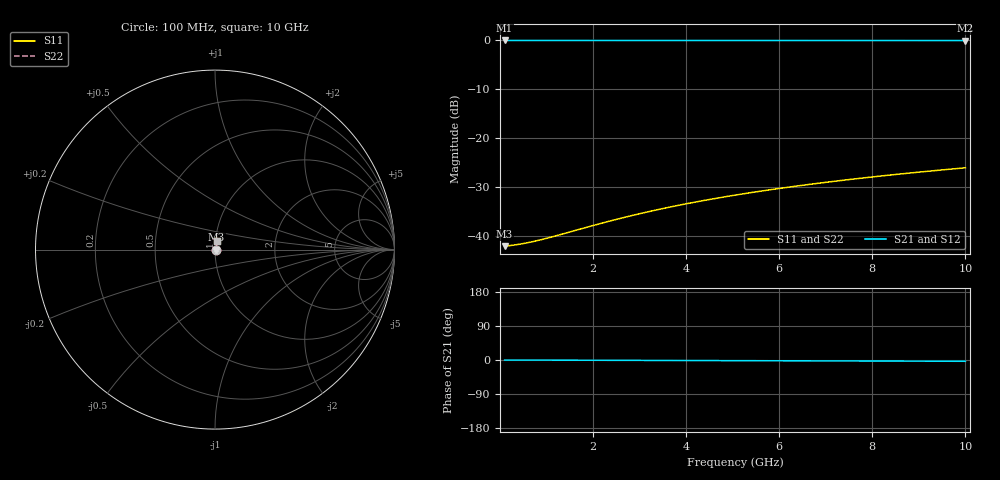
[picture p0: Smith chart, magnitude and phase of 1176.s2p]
# Hz S RI R 50.00
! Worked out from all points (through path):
!   100 points, 100 MHz to 10 GHz, reference 50 ohm
!   highest |S21| = -0.07 dB at 100 MHz (marker M1); lowest = -0.1 dB at 10 GHz (marker M2)
!   lowest |S11| = -42.2 dB at 100 MHz (marker M3), VSWR 1.02, Z = 50.8 + j0.0489 ohm
!   |S11| at or under -10 dB: start of sweep to end of sweep
!   |S22| runs from -42.2 to -26.1 dB; largest |S21 - S12| = 0
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1e8  0.00778 0.000482  0.9922 -0.000589  0.9922 -0.000589  0.00778 0.000482
3e8  0.00787 0.00145  0.9921 -0.00177  0.9921 -0.00177  0.00787 0.00145
4e8  0.0079 0.00193  0.9921 -0.00235  0.9921 -0.00235  0.0079 0.00193
6e8  0.00795 0.00289  0.992 -0.00353  0.992 -0.00353  0.00795 0.00289
8e8  0.008 0.00385  0.992 -0.00471  0.992 -0.00471  0.008 0.00385
1e9  0.00804 0.00482  0.992 -0.00589  0.992 -0.00589  0.00804 0.00482
1.2e9  0.00808 0.00578  0.9919 -0.00706  0.9919 -0.00706  0.00808 0.00578
1.8e9  0.0082 0.00867  0.9918 -0.0106  0.9918 -0.0106  0.0082 0.00867
2.2e9  0.00828 0.0106  0.9917 -0.0129  0.9917 -0.0129  0.00828 0.0106
2.6e9  0.00836 0.0125  0.9916 -0.0153  0.9916 -0.0153  0.00836 0.0125
3e9  0.00845 0.0144  0.9915 -0.0176  0.9915 -0.0176  0.00845 0.0144
3.4e9  0.00855 0.0164  0.9914 -0.02  0.9914 -0.02  0.00855 0.0164
3.8e9  0.00866 0.0183  0.9913 -0.0224  0.9913 -0.0224  0.00866 0.0183
4.2e9  0.00877 0.0202  0.9912 -0.0247  0.9912 -0.0247  0.00877 0.0202
4.6e9  0.00889 0.0221  0.9911 -0.0271  0.9911 -0.0271  0.00889 0.0221
5.1e9  0.00905 0.0245  0.9909 -0.03  0.9909 -0.03  0.00905 0.0245
5.9e9  0.00934 0.0284  0.9906 -0.0347  0.9906 -0.0347  0.00934 0.0284
6.7e9  0.00966 0.0322  0.9903 -0.0394  0.9903 -0.0394  0.00966 0.0322
7.5e9  0.01 0.0361  0.9899 -0.0441  0.9899 -0.0441  0.01 0.0361
8.4e9  0.0105 0.0404  0.9895 -0.0494  0.9895 -0.0494  0.0105 0.0404
9.2e9  0.0109 0.0442  0.9891 -0.0541  0.9891 -0.0541  0.0109 0.0442
1e10  0.0114 0.0481  0.9886 -0.0588  0.9886 -0.0588  0.0114 0.0481
